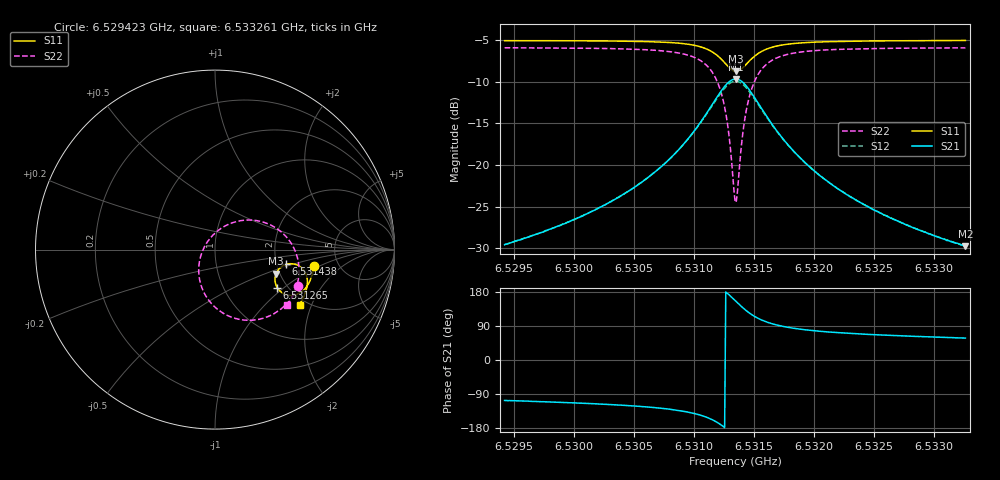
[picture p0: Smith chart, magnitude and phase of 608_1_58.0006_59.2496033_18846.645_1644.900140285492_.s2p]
#  HZ  S  RI  R  50.00
! Rohde & Schwarz Vector Network Analyzer
! Rohde-Schwarz,ZNB20-2Port,1311601062101988,3.16
! Created: UTC 3/21/2024, 1:17:36 AM
! freq[Hz]  re:S11  im:S11  re:S21  im:S21  re:S12  im:S12  re:S22  im:S22
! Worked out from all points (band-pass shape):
!   401 points, 6.529423 GHz to 6.533261 GHz, reference 50 ohm
!   highest |S21| = -9.64 dB at 6.531351 GHz (marker M1); lowest = -29.8 dB at 6.533261 GHz (marker M2)
!   |S21| within 3 dB of the highest: 6.531156 GHz to 6.531538 GHz (382.2 kHz wide, 0.00585 % of centre)
!   lowest |S11| = -8.7 dB at 6.531351 GHz (marker M3), VSWR 2.15, Z = 95.6 - j29.6 ohm
!   |S11| at or under -10 dB: nowhere
!   |S22| runs from -24.5 to -5.9 dB; largest |S21 - S12| = 0.013
!   S11 on the Smith chart (normalised r, x): 6.529423 GHz: 3.31, -0.86; 6.531265 GHz: 1.77, -0.90; 6.531438 GHz: 2.26, -0.44; 6.533261 GHz: 1.83, -1.64
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6.5294232e9  0.5534 -0.0887  -0.00957 -0.0317  -0.0103 -0.0316  0.4648 -0.205
6.530066e9  0.5407 -0.1427  -0.02 -0.0448  -0.0212 -0.0445  0.4299 -0.2648
6.5304305e9  0.5277 -0.1772  -0.0339 -0.0588  -0.0354 -0.058  0.3934 -0.3078
6.5307087e9  0.5097 -0.2079  -0.0568 -0.0762  -0.0592 -0.0746  0.3414 -0.3495
6.530939e9  0.479 -0.2382  -0.1022 -0.0962  -0.1051 -0.0923  0.2504 -0.3871
6.531102e9  0.4307 -0.255  -0.1772 -0.0991  -0.1791 -0.0916  0.1141 -0.3836
6.531198e9  0.3822 -0.2453  -0.2516 -0.0654  -0.2495 -0.0546  -0.00834 -0.3126
6.5312651e9  0.3464 -0.2116  -0.3028 0.00323  -0.2949 0.0135  -0.0808 -0.1884
6.5312939e9  0.3369 -0.1881  -0.314 0.0466  -0.3036 0.0551  -0.0909 -0.1149
6.5313323e9  0.3353 -0.1519  -0.3093 0.1113  -0.2969 0.1157  -0.0708 -0.0103
6.5313419e9  0.3373 -0.1428  -0.3038 0.1272  -0.2914 0.1305  -0.0592 0.0147
6.5313515e9  0.3404 -0.1339  -0.2971 0.1428  -0.2846 0.1449  -0.0453 0.0386
6.5313707e9  0.3492 -0.1173  -0.2791 0.171  -0.2671 0.1711  -0.0109 0.0813
6.531409e9  0.3748 -0.0924  -0.2307 0.2127  -0.2212 0.2097  0.0754 0.1411
6.5314378e9  0.3972 -0.0821  -0.1904 0.2294  -0.183 0.2254  0.1448 0.1615
6.531505e9  0.4449 -0.0817  -0.1075 0.2306  -0.104 0.2268  0.2828 0.1485
6.5316009e9  0.4861 -0.1055  -0.0374 0.195  -0.0357 0.193  0.3958 0.0729
6.5317448e9  0.5093 -0.144  0.00371 0.1427  0.00505 0.142  0.4553 -0.0314
6.5319846e9  0.5146 -0.1889  0.0199 0.0924  0.0211 0.092  0.4679 -0.135
6.5322916e9  0.5076 -0.2271  0.0218 0.0613  0.0228 0.0612  0.4548 -0.2057
6.5326274e9  0.4961 -0.2588  0.0204 0.0439  0.0213 0.0436  0.4359 -0.253
6.5332605e9  0.4708 -0.3072  0.0172 0.0275  0.0178 0.0273  0.4007 -0.3113
